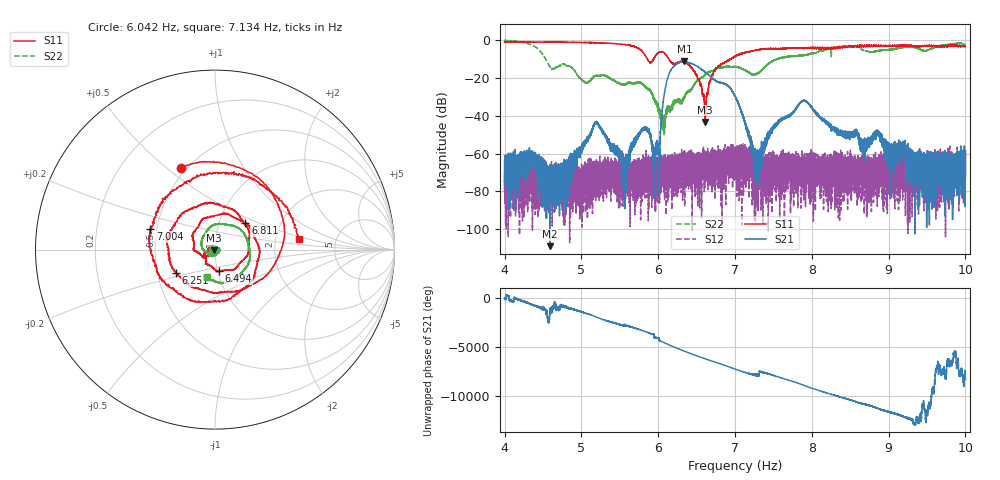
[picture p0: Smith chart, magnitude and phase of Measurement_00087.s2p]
!Created with skrf (http://scikit-rf.org).
# Hz S RI R 50.0
!freq ReS11 ImS11 ReS21 ImS21 ReS12 ImS12 ReS22 ImS22
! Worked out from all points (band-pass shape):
!   14001 points, 4 Hz to 10 Hz, reference 50 ohm
!   highest |S21| = -11.18 dB at 6.341 Hz (marker M1); lowest = -108.9 dB at 4.588 Hz (marker M2)
!   |S21| within 3 dB of the highest: 6.195047 Hz to 6.195333 Hz (286.5 uHz wide, 0.00463 % of centre); 6.196 Hz to 6.52 Hz (324.2 mHz wide, 5.1 % of centre)
!   lowest |S11| = -43.3 dB at 6.609 Hz (marker M3), VSWR 1.01, Z = 49.4 - j0.345 ohm
!   |S11| at or under -10 dB: 5.859 Hz to 5.94 Hz (80.61 mHz wide, 1.37 % of centre); 6.139 Hz to 6.938 Hz (798.8 mHz wide, 12.2 % of centre); 6.937907 Hz to 6.940326 Hz (2.419 mHz wide, 0.0349 % of centre) (the widest 3 of 10)
!   |S22| runs from -50.1 to -0.2 dB; largest |S21 - S12| = 0.28
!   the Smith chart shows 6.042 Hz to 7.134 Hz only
!   S11 on the Smith chart (normalised r, x): 6.042 Hz: 0.47, +0.56; 6.251 Hz: 0.63, -0.17; 6.494 Hz: 1.01, -0.25; 6.811 Hz: 1.33, +0.41; 7.004 Hz: 0.46, +0.12; 7.134 Hz: 2.71, +0.40
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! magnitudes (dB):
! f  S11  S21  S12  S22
! 4 Hz  -1.0  -63.5  -79.3  -0.3
! 4.588 Hz  -1.1  -108.9  -76.4  -14.0
! 5 Hz  -1.2  -57.4  -70.8  -20.7
! 5.194 Hz  -1.4  -43.7  -71.1  -18.8
! 5.558 Hz  -2.3  -66.4  -68.4  -23.6
! 5.814 Hz  -7.0  -46.8  -73.6  -23.8
! 6 Hz  -6.7  -57.2  -72.6  -35.2
! 6.042 Hz  -6.1  -41.4  -65.6  -40.3
! 6.118 Hz  -8.7  -20.6  -71.7  -37.2
! 6.251 Hz  -12.0  -12.3  -78.4  -32.0
! 6.341 Hz  -11.5  -11.2  -66.0  -30.1
! 6.494 Hz  -18.3  -13.6  -66.0  -22.2
! 6.609 Hz  -43.3  -16.8  -64.2  -18.2
! 6.811 Hz  -13.0  -22.4  -60.7  -14.5
! 7 Hz  -8.5  -29.7  -57.5  -14.0
! 7.004 Hz  -8.4  -29.7  -61.5  -14.1
! 7.134 Hz  -6.6  -43.9  -58.4  -15.9
! 7.291 Hz  -5.2  -63.8  -67.0  -17.8
! 7.576 Hz  -4.6  -42.3  -67.8  -9.7
! 8 Hz  -4.3  -35.7  -63.7  -6.9
! 9 Hz  -3.1  -56.3  -71.9  -5.1
! 10 Hz  -3.4  -68.2  -58.2  -3.1
